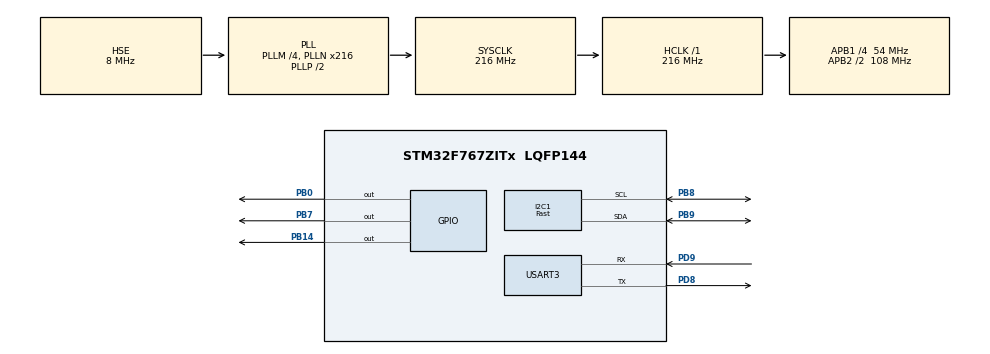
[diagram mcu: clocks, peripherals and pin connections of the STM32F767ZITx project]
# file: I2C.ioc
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CORTEX_M7.CPU_DCache=Enabled
CORTEX_M7.CPU_ICache=Enabled
I2C1.I2C_Speed_Mode=I2C_Fast
I2C1.Speed=400
I2C1.Timing=0x6000030D
Mcu.Family=STM32F7
Mcu.Name=STM32F767ZITx
Mcu.Package=LQFP144
NVIC.PriorityGroup=NVIC_PRIORITYGROUP_4
PB0.Signal=GPIO_Output
PB14.Signal=GPIO_Output
PB7.Signal=GPIO_Output
PB8.Mode=I2C
PB8.Signal=I2C1_SCL
PB9.Mode=I2C
PB9.Signal=I2C1_SDA
PD8.Mode=Asynchronous
PD8.Signal=USART3_TX
PD9.Mode=Asynchronous
PD9.Signal=USART3_RX
PH0/OSC_IN.Mode=HSE-External-Clock-Source
PH0/OSC_IN.Signal=RCC_OSC_IN
PH1/OSC_OUT.Mode=HSE-External-Clock-Source
PH1/OSC_OUT.Signal=RCC_OSC_OUT
ProjectManager.HeapSize=0x800
ProjectManager.StackSize=0x800
ProjectManager.TargetToolchain=STM32CubeIDE
RCC.AHBFreq_Value=216000000
RCC.APB1CLKDivider=RCC_HCLK_DIV4
RCC.APB1Freq_Value=54000000
RCC.APB1TimFreq_Value=108000000
RCC.APB2CLKDivider=RCC_HCLK_DIV2
RCC.APB2Freq_Value=108000000
RCC.APB2TimFreq_Value=216000000
RCC.CortexFreq_Value=216000000
RCC.HCLKFreq_Value=216000000
RCC.HSE_VALUE=8000000
RCC.HSI_VALUE=16000000
RCC.LSE_VALUE=32768
RCC.PLLM=4
RCC.PLLN=216
RCC.PLLSourceVirtual=RCC_PLLSOURCE_HSE
RCC.SYSCLKFreq_VALUE=216000000
RCC.SYSCLKSource=RCC_SYSCLKSOURCE_PLLCLK
RCC.USBFreq_Value=216000000
RCC.VCOOutputFreq_Value=432000000
STMicroelectronics.X-CUBE-AI.8.1.0.ActivationBufferSizeList=64740
STMicroelectronics.X-CUBE-AI.8.1.0.ActivationBuffers=pool0
STMicroelectronics.X-CUBE-AI.8.1.0.ActivationNames=pool0
STMicroelectronics.X-CUBE-AI.8.1.0.ActivationSizes=AI_MODEL_DATA_ACTIVATION_1_SIZE
STMicroelectronics.X-CUBE-AI.8.1.0.HeapSize=0x800
STMicroelectronics.X-CUBE-AI.8.1.0.InternalRamActivationBufferMaxSize=AI_MODEL_DATA_ACTIVATIONS_SIZE
STMicroelectronics.X-CUBE-AI.8.1.0.LatestDirectoryUsed-b9f06930b2fe719d3c5fd88864e0dfd8f0b72550c18e1ef35b4fb1958660c0f9=C\:\\Project\\ThermalCamera\\h5
STMicroelectronics.X-CUBE-AI.8.1.0.MaximumNumberOfInputLayer=1
STMicroelectronics.X-CUBE-AI.8.1.0.MaximumNumberOfOutputLayer=1
STMicroelectronics.X-CUBE-AI.8.1.0.MaximumSizeOfInputLayer=1
STMicroelectronics.X-CUBE-AI.8.1.0.MaximumSizeOfOutputLayer=1
STMicroelectronics.X-CUBE-AI.8.1.0.ModelActualCompression-b9f06930b2fe719d3c5fd88864e0dfd8f0b72550c18e1ef35b4fb1958660c0f9=0.0
STMicroelectronics.X-CUBE-AI.8.1.0.ModelCompression-b9f06930b2fe719d3c5fd88864e0dfd8f0b72550c18e1ef35b4fb1958660c0f9=None
STMicroelectronics.X-CUBE-AI.8.1.0.ModelFlashOccupation-b9f06930b2fe719d3c5fd88864e0dfd8f0b72550c18e1ef35b4fb1958660c0f9=228778
STMicroelectronics.X-CUBE-AI.8.1.0.ModelHashList=b9f06930b2fe719d3c5fd88864e0dfd8f0b72550c18e1ef35b4fb1958660c0f9
STMicroelectronics.X-CUBE-AI.8.1.0.ModelKind-b9f06930b2fe719d3c5fd88864e0dfd8f0b72550c18e1ef35b4fb1958660c0f9=KERAS
STMicroelectronics.X-CUBE-AI.8.1.0.ModelMacc-b9f06930b2fe719d3c5fd88864e0dfd8f0b72550c18e1ef35b4fb1958660c0f9=4682512
STMicroelectronics.X-CUBE-AI.8.1.0.ModelName-b9f06930b2fe719d3c5fd88864e0dfd8f0b72550c18e1ef35b4fb1958660c0f9=model
STMicroelectronics.X-CUBE-AI.8.1.0.ModelNameList=model
STMicroelectronics.X-CUBE-AI.8.1.0.ModelRamOccupation-b9f06930b2fe719d3c5fd88864e0dfd8f0b72550c18e1ef35b4fb1958660c0f9=64740
STMicroelectronics.X-CUBE-AI.8.1.0.ModelStructureFile-b9f06930b2fe719d3c5fd88864e0dfd8f0b72550c18e1ef35b4fb1958660c0f9=C\:\\Project\\ThermalCamera\\h5\\model.h5
STMicroelectronics.X-CUBE-AI.8.1.0.ModelType-b9f06930b2fe719d3c5fd88864e0dfd8f0b72550c18e1ef35b4fb1958660c0f9=Saved model
STMicroelectronics.X-CUBE-AI.8.1.0.ReadyForCodeGeneration=true
STMicroelectronics.X-CUBE-AI.8.1.0.StackSize=0x800
STMicroelectronics.X-CUBE-AI.8.1.0.WorkingBufferStartAddrList=0xFFFFFFFF
STMicroelectronics.X-CUBE-AI.8.1.0.XAaCUBEAaAICcArtificialOoIntelligenceJjCore=true
STMicroelectronics.X-CUBE-AI.8.1.0.copyWeightToRam=false
STMicroelectronics.X-CUBE-AI.8.1.0.customLayerConfigEnabled=false
STMicroelectronics.X-CUBE-AI.8.1.0.noOnnxIoTranspose=false
STMicroelectronics.X-CUBE-AI.8.1.0.optimization=ram
STMicroelectronics.X-CUBE-AI.8.1.0.useInputAllocation=true
STMicroelectronics.X-CUBE-AI.8.1.0.useOutputAllocation=true
USART3.VirtualMode-Asynchronous=VM_ASYNC
VP_CRC_VS_CRC.Mode=CRC_Activate
VP_STMicroelectronics.X-CUBE-AI_VS_ArtificialOoIntelligenceJjXAaCUBEAaAI_8.1.0_8.1.0.Mode=ArtificialOoIntelligenceJjXAaCUBEAaAI
board=custom

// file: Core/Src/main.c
/* USER CODE BEGIN Header */
/**
  ******************************************************************************
  * @file           : main.c
  * @brief          : Main program body
  ******************************************************************************
  * @attention
  *
  * Copyright (c) 2023 STMicroelectronics.
  * All rights reserved.
  *
  * This software is licensed under terms that can be found in the LICENSE file
  * in the root directory of this software component.
  * If no LICENSE file comes with this software, it is provided AS-IS.
  *
  ******************************************************************************
  */
/* USER CODE END Header */
#include "main.h"
#include "crc.h"
#include "i2c.h"
#include "usart.h"
#include "gpio.h"

/* USER CODE BEGIN Includes */
#include "MLX90640_API.h"
#include <float.h>
#include <math.h>
/* USER CODE END Includes */

/* USER CODE BEGIN PV */
#define  FPS2HZ   0x02
#define  FPS4HZ   0x03
#define  FPS8HZ   0x04
#define  FPS16HZ  0x05
#define  FPS32HZ  0x06

#define  MLX90640_ADDR 0x33
#define	 RefreshRate FPS8HZ
#define  TA_SHIFT 8 //Default shift for MLX90640 in open air

#define THERMAL_CAMERA_ROWS 24
#define THERMAL_CAMERA_COLS 32

#define REDUCED_ROWS 12
#define REDUCED_COLS 16
#define OPENAIR_TA_SHIFT 8
#define FRAME_SIZE 768
#define MLX_SHAPE_ROW 24
#define MLX_SHAPE_COL 32

float ai_input_data[THERMAL_CAMERA_ROWS][THERMAL_CAMERA_COLS][1];
float input_data[THERMAL_CAMERA_ROWS][THERMAL_CAMERA_COLS][1];
float output_data[THERMAL_CAMERA_ROWS][THERMAL_CAMERA_COLS][1];
static uint16_t eeMLX90640[832];
static float mlx90640To[768];
uint16_t frame[834];
float emissivity=0.95;
int status;
paramsMLX90640 mlx90640;

//uint8_t ai_input_data[THERMAL_CAMERA_ROWS][THERMAL_CAMERA_COLS][1];
/* USER CODE END PV */

void SystemClock_Config(void);

/* USER CODE BEGIN 0 */
void downscale_and_upscale(float input[THERMAL_CAMERA_ROWS][THERMAL_CAMERA_COLS],
                           float output[THERMAL_CAMERA_ROWS][THERMAL_CAMERA_COLS]);
void bilinear_interpolation(float input[THERMAL_CAMERA_ROWS][THERMAL_CAMERA_COLS],
                            float output[THERMAL_CAMERA_ROWS][THERMAL_CAMERA_COLS]);
void getFrame(float *framebuf);
void captureAndPreprocessFrame(float *frameBuffer, float *outputBuffer);

/* USER CODE END 0 */

int main(void)
{
/* Enable the CPU Cache */

  /* Enable I-Cache---------------------------------------------------------*/
  SCB_EnableICache();

  /* Enable D-Cache---------------------------------------------------------*/
  SCB_EnableDCache();

  /* MCU Configuration--------------------------------------------------------*/

  /* Reset of all peripherals, Initializes the Flash interface and the Systick. */
  HAL_Init();

  /* Configure the system clock */
  SystemClock_Config();

  /* Initialize all configured peripherals */
  MX_GPIO_Init();
  MX_I2C1_Init();
  MX_USART3_UART_Init();
  MX_CRC_Init();
  /* USER CODE BEGIN 2 */

  MLX90640_SetRefreshRate(MLX90640_ADDR, RefreshRate);
  MLX90640_SetChessMode(MLX90640_ADDR);

  status = MLX90640_DumpEE(MLX90640_ADDR, eeMLX90640);
  if (status != 0) printf("\r\nload system parameters error with code:%d\r\n",status);
  status = MLX90640_ExtractParameters(eeMLX90640, &mlx90640);
  if (status != 0) printf("\r\nParameter extraction failed with error code:%d\r\n",status);

  HAL_GPIO_WritePin(GPIOB, GPIO_PIN_0, GPIO_PIN_RESET);
  HAL_GPIO_WritePin(GPIOB, GPIO_PIN_7, GPIO_PIN_RESET);
  HAL_GPIO_WritePin(GPIOB, GPIO_PIN_14, GPIO_PIN_RESET);

  ai_error ai_err;
  float y_val;
  float frameBuffer[FRAME_SIZE];
  float preprocessedFrame[FRAME_SIZE];

  AI_ALIGNED(4) ai_u8 activations[AI_MODEL_DATA_ACTIVATIONS_SIZE];
  AI_ALIGNED(4) ai_u8 in_data[AI_MODEL_IN_1_SIZE_BYTES];
  AI_ALIGNED(4) ai_u8 out_data[AI_MODEL_OUT_1_SIZE_BYTES];

  ai_handle model = AI_HANDLE_NULL;

  ai_buffer ai_input[AI_MODEL_IN_NUM];
  ai_buffer ai_output[AI_MODEL_OUT_NUM];

  ai_network_params ai_params = {
		  AI_MODEL_DATA_WEIGHTS(ai_model_data_weights_get()),
		  AI_MODEL_DATA_ACTIVATIONS(activations)
  };

  //ai_input[0].data = AI_HANDLE_PTR(in_data);
  //ai_input[0].n_batches = 1;

  //ai_output[0].data = AI_HANDLE_PTR(out_data);
  //ai_output[0].n_batches = 1;

  ai_err = ai_model_create(&model, AI_MODEL_DATA_CONFIG);
  if(ai_err.type != AI_ERROR_NONE) while(1);
  if(!ai_model_init(model, &ai_params)) while(1);

  /* USER CODE END 2 */

  /* Infinite loop */
  /* USER CODE BEGIN WHILE */
  while (1)
  {
	  getFrame(frameBuffer);
	  captureAndPreprocessFrame(frameBuffer, preprocessedFrame);

	  memcpy(ai_input[0].data, preprocessedFrame, AI_MODEL_IN_1_SIZE_BYTES);

	  ai_i32 nbatch = ai_model_run(model, &ai_input[0], &ai_output[0]);
	  if (nbatch != 1) return -1;

	  y_val = ((float *)out_data)[0];
	  //ai_input[0].n_batches = 1;
	  //ai_input[0].data = AI_HANDLE_PTR(in_data);
	  //ai_output[0].n_batches = 1;
	  //ai_output[0].data = AI_HANDLE_PTR(out_data);
    /* USER CODE END WHILE */

  }
}

void SystemClock_Config(void)
{
  RCC_OscInitTypeDef RCC_OscInitStruct = {0};
  RCC_ClkInitTypeDef RCC_ClkInitStruct = {0};

  /** Configure the main internal regulator output voltage
  */
  __HAL_RCC_PWR_CLK_ENABLE();
  __HAL_PWR_VOLTAGESCALING_CONFIG(PWR_REGULATOR_VOLTAGE_SCALE1);

  /** Initializes the RCC Oscillators according to the specified parameters
  * in the RCC_OscInitTypeDef structure.
  */
  RCC_OscInitStruct.OscillatorType = RCC_OSCILLATORTYPE_HSE;
  RCC_OscInitStruct.HSEState = RCC_HSE_BYPASS;
  RCC_OscInitStruct.PLL.PLLState = RCC_PLL_ON;
  RCC_OscInitStruct.PLL.PLLSource = RCC_PLLSOURCE_HSE;
  RCC_OscInitStruct.PLL.PLLM = 4;
  RCC_OscInitStruct.PLL.PLLN = 216;
  RCC_OscInitStruct.PLL.PLLP = RCC_PLLP_DIV2;
  RCC_OscInitStruct.PLL.PLLQ = 2;
  RCC_OscInitStruct.PLL.PLLR = 2;
  if (HAL_RCC_OscConfig(&RCC_OscInitStruct) != HAL_OK)
  {
    Error_Handler();
  }

  /** Activate the Over-Drive mode
  */
  if (HAL_PWREx_EnableOverDrive() != HAL_OK)
  {
    Error_Handler();
  }

  /** Initializes the CPU, AHB and APB buses clocks
  */
  RCC_ClkInitStruct.ClockType = RCC_CLOCKTYPE_HCLK|RCC_CLOCKTYPE_SYSCLK
                              |RCC_CLOCKTYPE_PCLK1|RCC_CLOCKTYPE_PCLK2;
  RCC_ClkInitStruct.SYSCLKSource = RCC_SYSCLKSOURCE_PLLCLK;
  RCC_ClkInitStruct.AHBCLKDivider = RCC_SYSCLK_DIV1;
  RCC_ClkInitStruct.APB1CLKDivider = RCC_HCLK_DIV4;
  RCC_ClkInitStruct.APB2CLKDivider = RCC_HCLK_DIV2;

  if (HAL_RCC_ClockConfig(&RCC_ClkInitStruct, FLASH_LATENCY_7) != HAL_OK)
  {
    Error_Handler();
  }
}

/* USER CODE BEGIN 4 */

void captureAndPreprocessFrame(float *frameBuffer, float *outputBuffer) {
    // �????��: frameBuffer?�� ?���??? 캡처?�� ?��?��?�� ?��?��?���??? ?��?��?���??? ?��?��
    float minVal = FLT_MAX, maxVal = -FLT_MAX;

    // 최소/최�? �??? 찾기
    for (int i = 0; i < FRAME_SIZE; i++) {
        if (frameBuffer[i] < minVal) minVal = frameBuffer[i];
        if (frameBuffer[i] > maxVal) maxVal = frameBuffer[i];
    }

    // 0?��?�� 255 ?��?���??? ?��규화
    for (int i = 0; i < FRAME_SIZE; i++) {
        outputBuffer[i] = (frameBuffer[i] - minVal) / (maxVal - minVal) * 255.0f;
    }

    // ?��?�� 0?��?�� 1 ?��?���??? ?��규화
    for (int i = 0; i < FRAME_SIZE; i++) {
        outputBuffer[i] = outputBuffer[i] / 255.0f;
    }
}

void getFrame(float *framebuf) {
    static uint16_t mlx90640Frame[834];
    float emissivity = 0.95;
    float tr = 23.15;
    float mlx90640To[768]; // 32x24 pixels

    for (int i = 0; i < 2; i++) {
        int status = MLX90640_GetFrameData(mlx90640Frame, &mlx90640);
        if (status < 0) {
        	printf("status error");
            return;
        }
        // 공기 중에?��?�� ?��?�� 조정
        tr = MLX90640_GetTa(mlx90640Frame, &mlx90640) - OPENAIR_TA_SHIFT;
        MLX90640_CalculateTo(mlx90640Frame, &mlx90640, emissivity, tr, mlx90640To);
        MLX90640_BadPixelsCorrection(mlx90640.brokenPixels, mlx90640To, 1, &mlx90640);
        MLX90640_BadPixelsCorrection(mlx90640.outlierPixels, mlx90640To, 1, &mlx90640);
    }

    float minTemp = FLT_MAX, maxTemp = -FLT_MAX;
    for (int i = 0; i < 768; i++) {
        if (mlx90640To[i] < minTemp) minTemp = mlx90640To[i];
        if (mlx90640To[i] > maxTemp) maxTemp = mlx90640To[i];
    }

    // ?��?�� ?��?��?�� ?���????���??? �??? framebuf?�� ???��
    for (int i = 0; i < THERMAL_CAMERA_ROWS; i++) {
        for (int j = 0; j < THERMAL_CAMERA_COLS; j++) {
            float temp = mlx90640To[i * THERMAL_CAMERA_COLS + j];
            float scaledTemp = (temp - minTemp) / (maxTemp - minTemp);
            framebuf[i * THERMAL_CAMERA_COLS + j] = scaledTemp;
        }
    }
}

void bilinear_interpolation(float input[THERMAL_CAMERA_ROWS][THERMAL_CAMERA_COLS],
                            float output[THERMAL_CAMERA_ROWS][THERMAL_CAMERA_COLS]) {
    for (int i = 0; i < THERMAL_CAMERA_ROWS; i++) {
        for (int j = 0; j < THERMAL_CAMERA_COLS; j++) {
            float top = (i == 0) ? input[i][j] : input[i - 1][j];
            float bottom = (i == THERMAL_CAMERA_ROWS - 1) ? input[i][j] : input[i + 1][j];
            float left = (j == 0) ? input[i][j] : input[i][j - 1];
            float right = (j == THERMAL_CAMERA_COLS - 1) ? input[i][j] : input[i][j + 1];

            output[i][j] = (top + bottom + left + right) / 4.0;
        }
    }
}

void downscale_and_upscale(float input[THERMAL_CAMERA_ROWS][THERMAL_CAMERA_COLS],
                           float output[THERMAL_CAMERA_ROWS][THERMAL_CAMERA_COLS]) {
    float temp[REDUCED_ROWS][REDUCED_COLS];

    for (int i = 0; i < REDUCED_ROWS; i++) {
        for (int j = 0; j < REDUCED_COLS; j++) {
            float sum = input[i*2][j*2] + input[i*2][j*2+1] +
                        input[i*2+1][j*2] + input[i*2+1][j*2+1];
            temp[i][j] = sum / 4.0;
        }
    }

    for (int i = 0; i < THERMAL_CAMERA_ROWS; i++) {
        for (int j = 0; j < THERMAL_CAMERA_COLS; j++) {
            output[i][j] = temp[i/2][j/2];
        }
    }
}
/* USER CODE END 4 */

void Error_Handler(void)
{
  __disable_irq();
  while (1)
  {
  }
}
